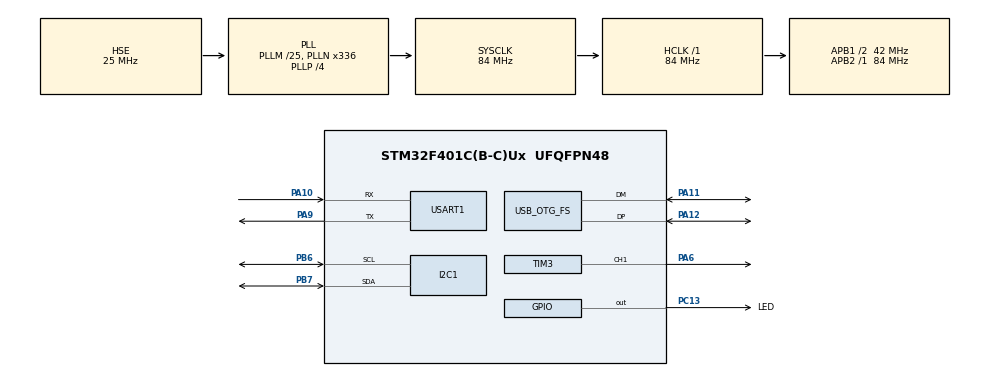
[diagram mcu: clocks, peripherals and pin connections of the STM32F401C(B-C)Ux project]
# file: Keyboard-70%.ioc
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Dma.Request0=TIM3_CH1/TRIG
Dma.TIM3_CH1/TRIG.0.Direction=DMA_MEMORY_TO_PERIPH
Dma.TIM3_CH1/TRIG.0.FIFOMode=DMA_FIFOMODE_DISABLE
Dma.TIM3_CH1/TRIG.0.Instance=DMA1_Stream4
Dma.TIM3_CH1/TRIG.0.MemDataAlignment=DMA_MDATAALIGN_HALFWORD
Dma.TIM3_CH1/TRIG.0.MemInc=DMA_MINC_ENABLE
Dma.TIM3_CH1/TRIG.0.Mode=DMA_NORMAL
Dma.TIM3_CH1/TRIG.0.PeriphDataAlignment=DMA_PDATAALIGN_HALFWORD
Dma.TIM3_CH1/TRIG.0.PeriphInc=DMA_PINC_DISABLE
Dma.TIM3_CH1/TRIG.0.Priority=DMA_PRIORITY_MEDIUM
Mcu.Family=STM32F4
Mcu.Name=STM32F401C(B-C)Ux
Mcu.Package=UFQFPN48
NVIC.DMA1_Stream4_IRQn=true\:0\:0\:false\:false\:true\:false\:true
NVIC.OTG_FS_IRQn=true\:0\:0\:false\:false\:true\:false\:true
NVIC.PriorityGroup=NVIC_PRIORITYGROUP_4
PA10.Mode=Asynchronous
PA10.Signal=USART1_RX
PA11.Mode=Device_Only
PA11.Signal=USB_OTG_FS_DM
PA12.Mode=Device_Only
PA12.Signal=USB_OTG_FS_DP
PA13.Mode=Serial_Wire
PA13.Signal=SYS_JTMS-SWDIO
PA14.Mode=Serial_Wire
PA14.Signal=SYS_JTCK-SWCLK
PA6.Signal=S_TIM3_CH1
PA9.Mode=Asynchronous
PA9.Signal=USART1_TX
PB6.Mode=I2C
PB6.Signal=I2C1_SCL
PB7.Mode=I2C
PB7.Signal=I2C1_SDA
PC13-ANTI_TAMP.GPIO_Label=LED
PC13-ANTI_TAMP.Signal=GPIO_Output
PC14-OSC32_IN.Mode=LSE-External-Oscillator
PC14-OSC32_IN.Signal=RCC_OSC32_IN
PC15-OSC32_OUT.Mode=LSE-External-Oscillator
PC15-OSC32_OUT.Signal=RCC_OSC32_OUT
PH0\ -\ OSC_IN.Mode=HSE-External-Oscillator
PH0\ -\ OSC_IN.Signal=RCC_OSC_IN
PH1\ -\ OSC_OUT.Mode=HSE-External-Oscillator
PH1\ -\ OSC_OUT.Signal=RCC_OSC_OUT
ProjectManager.HeapSize=0x200
ProjectManager.StackSize=0x400
ProjectManager.TargetToolchain=EWARM V8
RCC.48MHZClocksFreq_Value=48000000
RCC.AHBFreq_Value=84000000
RCC.APB1CLKDivider=RCC_HCLK_DIV2
RCC.APB1Freq_Value=42000000
RCC.APB1TimFreq_Value=84000000
RCC.APB2Freq_Value=84000000
RCC.APB2TimFreq_Value=84000000
RCC.CortexFreq_Value=84000000
RCC.HCLKFreq_Value=84000000
RCC.HSE_VALUE=25000000
RCC.HSI_VALUE=16000000
RCC.PLLM=25
RCC.PLLN=336
RCC.PLLP=RCC_PLLP_DIV4
RCC.PLLQ=7
RCC.SYSCLKFreq_VALUE=84000000
RCC.SYSCLKSource=RCC_SYSCLKSOURCE_PLLCLK
RCC.VCOOutputFreq_Value=336000000
SH.S_TIM3_CH1.0=TIM3_CH1,PWM Generation1 CH1
TIM3.Channel-PWM\ Generation1\ CH1=TIM_CHANNEL_1
TIM3.Period=104
USART1.VirtualMode=VM_ASYNC
USB_DEVICE.CLASS_NAME_FS=CUSTOM_HID
USB_DEVICE.PRODUCT_STRING_CUSTOMHID_FS=IOTsuyuan-70%Keyboard
USB_DEVICE.USBD_CUSTOMHID_OUTREPORT_BUF_SIZE=2
USB_DEVICE.USBD_CUSTOM_HID_REPORT_DESC_SIZE=230
USB_DEVICE.VirtualMode=CustomHid
USB_DEVICE.VirtualModeFS=Custom_Hid_FS
USB_OTG_FS.VirtualMode=Device_Only
VP_TIM3_VS_ClockSourceINT.Mode=Internal
VP_USB_DEVICE_VS_USB_DEVICE_CUSTOM_HID_FS.Mode=CUSTOM_HID_FS
board=custom

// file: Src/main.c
/* USER CODE BEGIN Header */
/**
  ******************************************************************************
  * @file           : main.c
  * @brief          : Main program body
  ******************************************************************************
  * @attention
  *
  * <h2><center>&copy; Copyright (c) 2020 STMicroelectronics.
  * All rights reserved.</center></h2>
  *
  * This software component is licensed by ST under Ultimate Liberty license
  * SLA0044, the "License"; You may not use this file except in compliance with
  * the License. You may obtain a copy of the License at:
  *                             www.st.com/SLA0044
  *
  ******************************************************************************
  */
/* USER CODE END Header */

#include "main.h"
#include "dma.h"
#include "i2c.h"
#include "tim.h"
#include "usart.h"
#include "usb_device.h"
#include "gpio.h"

/* USER CODE BEGIN Includes */
#include "IS31FL3732.h"
#include "IS31FL3741.h"
/* USER CODE END Includes */

/* USER CODE BEGIN PTD */

#define PIXEL_MAX 1
typedef struct {
  const uint16_t head[3];
  uint16_t data[24 * PIXEL_MAX];
  const uint16_t tail;
} frame_buf_ws2812b;

frame_buf_ws2812b frame = {
  .head[0] = 0,
  .head[1] = 0,
  .head[1] = 0,
  .tail    = 0,
};
/* USER CODE END PTD */

/* USER CODE BEGIN PD */
volatile uint8_t Mode_NO = 1;

#define BIT_1 67u
#define BIT_0 34u                            //这两个定义ws2812的数据0和1

typedef uint8_t u8;
typedef uint32_t u32;
u8 fac_us;
/* USER CODE END PD */

/* USER CODE BEGIN PV */
uint8_t USB_Recive_Buffer[5];
uint8_t USB_Recived_Count = 0;
/* USER CODE END PV */

void SystemClock_Config(void);
/* USER CODE BEGIN PFP */
void ws2812b_show(void);
/* USER CODE END PFP */

/* USER CODE BEGIN 0 */
#ifdef __GNUC__
  #define PUTCHAR_PROTOTYPE int __io_putchar(int ch)
#else
  #define PUTCHAR_PROTOTYPE int fputc(int ch, FILE *f)
#endif
int fputc(int ch,FILE *f)
{
	HAL_UART_Transmit(&huart1,(uint8_t *)&ch,1,0xFFFF);

	return ch;
}

void delay_init(u8 SYSCLK)
{
    #if SYSTEM_SUPPORT_OS
        u32 reload;
    #endif

    HAL_SYSTICK_CLKSourceConfig(SYSTICK_CLKSOURCE_HCLK);
    //SysTick  HCLK
    fac_us=SYSCLK;              // OS,fac_us

    #if SYSTEM_SUPPORT_OS       // OS.
        reload=SYSCLK;
        reload*=1000000/delay_ostickspersec;    //delay_ostickspersec
        //reload 24Bit 16777216, 180M 0.745s
        fac_ms=1000/delay_ostickspersec;        // OS.
        SysTick->CTRL|=SysTick_CTRL_TICKINT_Msk;// SYSTICK
        SysTick->LOAD=reload;                   // 1/OS_TICKS_PER_SEC
        SysTick->CTRL|=SysTick_CTRL_ENABLE_Msk; // SYSTICK
        #else
    #endif
}

void delay_us(u32 nus)
{
    u32 ticks;
    u32 told,tnow,tcnt=0;
    u32 reload=SysTick->LOAD;                   //LOAD
    ticks=nus*fac_us;
    told=SysTick->VAL;
    while(1)
    {
        tnow=SysTick->VAL;
        if(tnow!=told)
        {
            if(tnow<told)tcnt+=told-tnow;       // SYSTICK.
            else tcnt+=reload-tnow+told;
            told=tnow;
            if(tcnt>=ticks)break;
        }
    }
}
/* USER CODE END 0 */

int main(void)
{

  /* MCU Configuration--------------------------------------------------------*/

  /* Reset of all peripherals, Initializes the Flash interface and the Systick. */
  HAL_Init();

  /* Configure the system clock */
  SystemClock_Config();

  /* Initialize all configured peripherals */
  MX_GPIO_Init();
  MX_DMA_Init();
  MX_I2C1_Init();
  MX_USART1_UART_Init();
  MX_USB_DEVICE_Init();
  MX_TIM3_Init();
  /* USER CODE BEGIN 2 */
  printf("hello world");
  delay_init(84);                               //微秒级延时初始化
	IS31FL3741_Init();
  // IS31FL3732_Init();
  // HAL_TIM_PWM_Start(&htim3,TIM_CHANNEL_1);    //WS2812使用的PWM
  // HAL_Delay(200);
  // Test_Led();
    Play_IS31FL3741_Demo_mode();
  /* USER CODE END 2 */

  /* Infinite loop */
  while (1)
  {
    // ws2812b_show();
    HAL_Delay(500);
  }
}

void SystemClock_Config(void)
{
  RCC_OscInitTypeDef RCC_OscInitStruct = {0};
  RCC_ClkInitTypeDef RCC_ClkInitStruct = {0};

  /** Configure the main internal regulator output voltage
  */
  __HAL_RCC_PWR_CLK_ENABLE();
  __HAL_PWR_VOLTAGESCALING_CONFIG(PWR_REGULATOR_VOLTAGE_SCALE2);
  /** Initializes the CPU, AHB and APB busses clocks
  */
  RCC_OscInitStruct.OscillatorType = RCC_OSCILLATORTYPE_HSE;
  RCC_OscInitStruct.HSEState = RCC_HSE_ON;
  RCC_OscInitStruct.PLL.PLLState = RCC_PLL_ON;
  RCC_OscInitStruct.PLL.PLLSource = RCC_PLLSOURCE_HSE;
  RCC_OscInitStruct.PLL.PLLM = 25;
  RCC_OscInitStruct.PLL.PLLN = 336;
  RCC_OscInitStruct.PLL.PLLP = RCC_PLLP_DIV4;
  RCC_OscInitStruct.PLL.PLLQ = 7;
  if (HAL_RCC_OscConfig(&RCC_OscInitStruct) != HAL_OK)
  {
    Error_Handler();
  }
  /** Initializes the CPU, AHB and APB busses clocks
  */
  RCC_ClkInitStruct.ClockType = RCC_CLOCKTYPE_HCLK|RCC_CLOCKTYPE_SYSCLK
                              |RCC_CLOCKTYPE_PCLK1|RCC_CLOCKTYPE_PCLK2;
  RCC_ClkInitStruct.SYSCLKSource = RCC_SYSCLKSOURCE_PLLCLK;
  RCC_ClkInitStruct.AHBCLKDivider = RCC_SYSCLK_DIV1;
  RCC_ClkInitStruct.APB1CLKDivider = RCC_HCLK_DIV2;
  RCC_ClkInitStruct.APB2CLKDivider = RCC_HCLK_DIV1;

  if (HAL_RCC_ClockConfig(&RCC_ClkInitStruct, FLASH_LATENCY_2) != HAL_OK)
  {
    Error_Handler();
  }
}

/* USER CODE BEGIN 4 */
void ws2812b_show(void)
{
  uint8_t i, j;
  for(i = 0; i < PIXEL_MAX; i++)
  {
    for(j = 0; j < 8; j++)
    {
      frame.data[24 * i + j]      = (0xff & (0x80 >> j)) ? BIT_1 : BIT_0; //将高低位扩展到16bit
      frame.data[24 * i + j + 8]  = (0xff & (0x80 >> j)) ? BIT_1 : BIT_0;
      frame.data[24 * i + j + 16] = (0xff & (0x80 >> j)) ? BIT_1 : BIT_0;
    }
  }
  HAL_TIM_PWM_Start_DMA(&htim3, TIM_CHANNEL_1, (uint32_t *)&frame, 3 + 24 * PIXEL_MAX + 1); //虽然传的是16bit但是要先转为32bit指针，
}

void HAL_TIM_PWM_PulseFinishedCallback(TIM_HandleTypeDef *htim)
{
  HAL_TIM_PWM_Stop(&htim3,TIM_CHANNEL_1);
}
/* USER CODE END 4 */

void Error_Handler(void)
{
}

/************************ (C) COPYRIGHT STMicroelectronics *****END OF FILE****/
